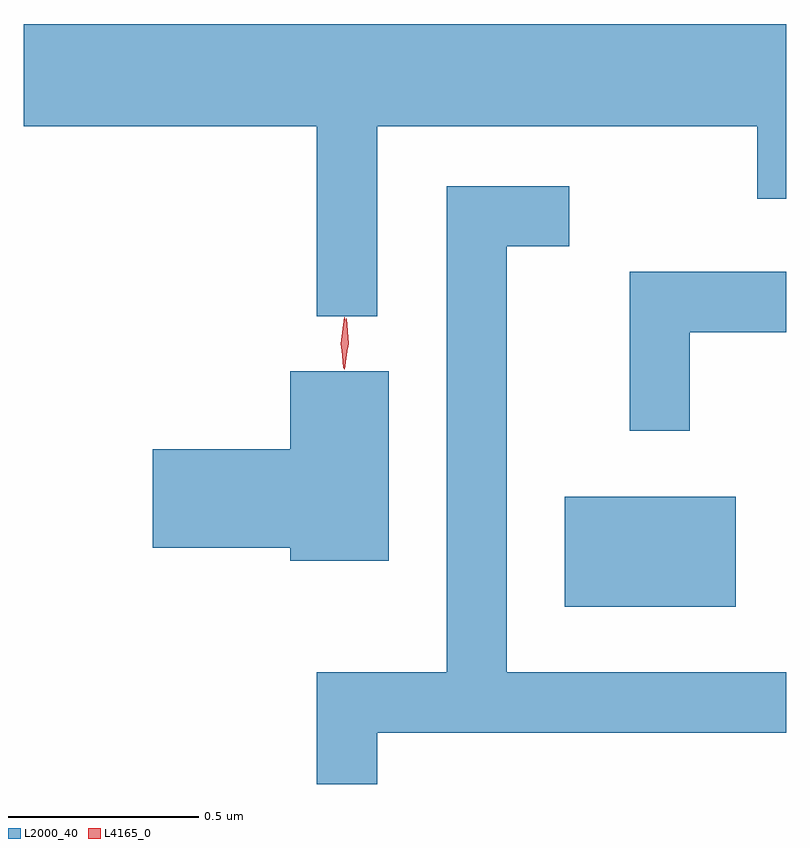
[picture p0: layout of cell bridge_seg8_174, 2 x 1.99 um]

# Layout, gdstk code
import gdstk
lib = gdstk.Library(unit=1e-6, precision=1e-09)
def R(c, l, rs):  # rectangles x0, y0, x1, y1
    for r in rs: c.add(gdstk.rectangle(r[:2], r[2:], *l))
def P(c, l, *ps):  # polygons
    for p in ps: c.add(gdstk.Polygon(p, *l))
L2000_40 = (2000, 40)
L4165_0 = (4165, 0)

bridge_seg8_174 = lib.new_cell('bridge_seg8_174')
R(bridge_seg8_174, L2000_40, [(1428.866,1935.056,1429.314,1935.344)])
P(bridge_seg8_174, L2000_40, [(1428.374,1936.316),(1429.371,1936.316),(1429.371,1936.126),(1429.447,1936.126),(1429.447,1936.584),(1427.447,1936.584),(1427.447,1936.316),(1428.216,1936.316),(1428.216,1935.818),(1428.374,1935.818)],
  [(1428.374,1934.726),(1429.447,1934.726),(1429.447,1934.884),(1428.714,1934.884),(1428.714,1936.001),(1428.878,1936.001),(1428.878,1936.159),(1428.556,1936.159),(1428.556,1934.884),(1428.216,1934.884),(1428.216,1934.591),(1428.374,1934.591)],
  [(1429.194,1935.776),(1429.447,1935.776),(1429.447,1935.934),(1429.036,1935.934),(1429.036,1935.518),(1429.194,1935.518)],
  [(1428.404,1935.674),(1428.146,1935.674),(1428.146,1935.469),(1427.786,1935.469),(1427.786,1935.211),(1428.146,1935.211),(1428.146,1935.176),(1428.404,1935.176)])
P(bridge_seg8_174, L4165_0, [(1428.288,1935.678),(1428.288,1935.678),(1428.278,1935.746),(1428.288,1935.815),(1428.288,1935.815),(1428.289,1935.815),(1428.298,1935.746),(1428.289,1935.678)],
  [(1428.286,1935.681),(1428.285,1935.682),(1428.28,1935.747),(1428.293,1935.811),(1428.293,1935.812),(1428.294,1935.811),(1428.3,1935.746),(1428.286,1935.682)])

lib.write_gds('bridge_seg8_174.gds')
